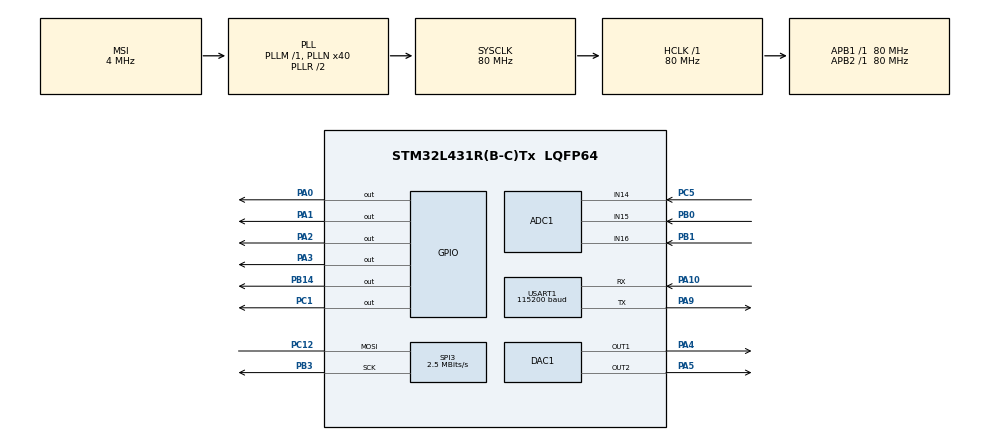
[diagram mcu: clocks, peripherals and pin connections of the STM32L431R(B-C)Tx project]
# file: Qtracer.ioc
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ADC1.Channel-0\#ChannelRegularConversion=ADC_CHANNEL_15
ADC1.Channel-1\#ChannelRegularConversion=ADC_CHANNEL_15
ADC1.ClockPrescaler=ADC_CLOCK_ASYNC_DIV12
ADC1.NbrOfConversion=2
ADC1.NbrOfConversionFlag=1
ADC1.OffsetNumber-0\#ChannelRegularConversion=ADC_OFFSET_NONE
ADC1.OffsetNumber-1\#ChannelRegularConversion=ADC_OFFSET_NONE
ADC1.Rank-0\#ChannelRegularConversion=1
ADC1.Rank-1\#ChannelRegularConversion=2
ADC1.SamplingTime-0\#ChannelRegularConversion=ADC_SAMPLETIME_47CYCLES_5
ADC1.SamplingTime-1\#ChannelRegularConversion=ADC_SAMPLETIME_47CYCLES_5
ADC1.master=1
DAC1.DAC_Channel-DAC_OUT2=DAC_CHANNEL_2
DAC1.DAC_SampleAndHold-DAC_OUT1=DAC_SAMPLEANDHOLD_DISABLE
DAC1.DAC_Trigger-DAC_OUT1=DAC_TRIGGER_NONE
DAC1.DAC_Trigger-DAC_OUT2=DAC_TRIGGER_NONE
Dma.ADC1.2.Direction=DMA_PERIPH_TO_MEMORY
Dma.ADC1.2.Instance=DMA1_Channel1
Dma.ADC1.2.MemDataAlignment=DMA_MDATAALIGN_HALFWORD
Dma.ADC1.2.MemInc=DMA_MINC_ENABLE
Dma.ADC1.2.Mode=DMA_NORMAL
Dma.ADC1.2.PeriphDataAlignment=DMA_PDATAALIGN_HALFWORD
Dma.ADC1.2.PeriphInc=DMA_PINC_DISABLE
Dma.ADC1.2.Priority=DMA_PRIORITY_LOW
Dma.Request0=USART1_RX
Dma.Request1=USART1_TX
Dma.Request2=ADC1
Dma.USART1_RX.0.Direction=DMA_PERIPH_TO_MEMORY
Dma.USART1_RX.0.Instance=DMA1_Channel5
Dma.USART1_RX.0.MemDataAlignment=DMA_MDATAALIGN_BYTE
Dma.USART1_RX.0.MemInc=DMA_MINC_ENABLE
Dma.USART1_RX.0.Mode=DMA_CIRCULAR
Dma.USART1_RX.0.PeriphDataAlignment=DMA_PDATAALIGN_BYTE
Dma.USART1_RX.0.PeriphInc=DMA_PINC_DISABLE
Dma.USART1_RX.0.Priority=DMA_PRIORITY_HIGH
Dma.USART1_TX.1.Direction=DMA_MEMORY_TO_PERIPH
Dma.USART1_TX.1.Instance=DMA1_Channel4
Dma.USART1_TX.1.MemDataAlignment=DMA_MDATAALIGN_BYTE
Dma.USART1_TX.1.MemInc=DMA_MINC_ENABLE
Dma.USART1_TX.1.Mode=DMA_NORMAL
Dma.USART1_TX.1.PeriphDataAlignment=DMA_PDATAALIGN_BYTE
Dma.USART1_TX.1.PeriphInc=DMA_PINC_DISABLE
Dma.USART1_TX.1.Priority=DMA_PRIORITY_MEDIUM
FREERTOS.Tasks01=defaultTask,0,128,StartDefaultTask,Default,NULL,Dynamic,NULL,NULL
FREERTOS.configUSE_NEWLIB_REENTRANT=1
Mcu.Family=STM32L4
Mcu.Name=STM32L431R(B-C)Tx
Mcu.Package=LQFP64
NVIC.DMA1_Channel1_IRQn=true\:5\:0\:false\:false\:true\:true\:false\:true
NVIC.DMA1_Channel4_IRQn=true\:5\:0\:false\:false\:true\:true\:false\:true
NVIC.DMA1_Channel5_IRQn=true\:5\:0\:false\:false\:true\:true\:false\:true
NVIC.PriorityGroup=NVIC_PRIORITYGROUP_4
NVIC.TIM7_IRQn=true\:5\:0\:false\:false\:true\:true\:true\:true
NVIC.USART1_IRQn=true\:5\:0\:false\:false\:true\:true\:true\:true
PA0.GPIO_Speed=GPIO_SPEED_FREQ_MEDIUM
PA0.PinState=GPIO_PIN_SET
PA0.Signal=GPIO_Output
PA1.Signal=GPIO_Output
PA10.Mode=Asynchronous
PA10.Signal=USART1_RX
PA13\ (JTMS-SWDIO).Mode=Serial_Wire
PA13\ (JTMS-SWDIO).Signal=SYS_JTMS-SWDIO
PA14\ (JTCK-SWCLK).Mode=Serial_Wire
PA14\ (JTCK-SWCLK).Signal=SYS_JTCK-SWCLK
PA2.Signal=GPIO_Output
PA3.Signal=GPIO_Output
PA4.Signal=COMP_DAC11_group
PA5.Signal=COMP_DAC12_group
PA9.Mode=Asynchronous
PA9.Signal=USART1_TX
PB0.Signal=ADCx_IN15
PB1.Signal=ADCx_IN16
PB14.Signal=GPIO_Output
PB3\ (JTDO-TRACESWO).Mode=Simplex_Bidirectional_Master
PB3\ (JTDO-TRACESWO).Signal=SPI3_SCK
PC1.Signal=GPIO_Output
PC12.Mode=Simplex_Bidirectional_Master
PC12.Signal=SPI3_MOSI
PC5.Signal=ADCx_IN14
ProjectManager.HeapSize=0x200
ProjectManager.StackSize=0x400
ProjectManager.TargetToolchain=STM32CubeIDE
RCC.ADCCLockSelection=RCC_ADCCLKSOURCE_SYSCLK
RCC.ADCFreq_Value=80000000
RCC.AHBFreq_Value=80000000
RCC.APB1Freq_Value=80000000
RCC.APB1TimFreq_Value=80000000
RCC.APB2Freq_Value=80000000
RCC.APB2TimFreq_Value=80000000
RCC.CortexFreq_Value=80000000
RCC.HCLKFreq_Value=80000000
RCC.HSE_VALUE=8000000
RCC.HSI48_VALUE=48000000
RCC.HSI_VALUE=16000000
RCC.LSE_VALUE=32768
RCC.MSI_VALUE=4000000
RCC.PLLN=40
RCC.PLLSAI1N=16
RCC.SYSCLKFreq_VALUE=80000000
RCC.SYSCLKSource=RCC_SYSCLKSOURCE_PLLCLK
RCC.VCOOutputFreq_Value=160000000
SH.ADCx_IN14.0=ADC1_IN14,IN14-Single-Ended
SH.ADCx_IN15.0=ADC1_IN15,IN15-Single-Ended
SH.ADCx_IN16.0=ADC1_IN16,IN16-Single-Ended
SH.COMP_DAC11_group.0=DAC1_OUT1,DAC_OUT1
SH.COMP_DAC12_group.0=DAC1_OUT2,DAC_OUT2
SPI3.BaudRatePrescaler=SPI_BAUDRATEPRESCALER_32
SPI3.CalculateBaudRate=2.5 MBits/s
SPI3.DataSize=SPI_DATASIZE_8BIT
SPI3.Direction=SPI_DIRECTION_1LINE
SPI3.Mode=SPI_MODE_MASTER
SPI3.VirtualType=VM_MASTER
TIM7.Period=199
TIM7.Prescaler=79
USART1.BaudRate=115200
USART1.VirtualMode-Asynchronous=VM_ASYNC
VP_FREERTOS_VS_CMSIS_V1.Mode=CMSIS_V1
VP_TIM7_VS_ClockSourceINT.Mode=Enable_Timer
board=custom

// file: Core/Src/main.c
/* USER CODE BEGIN Header */
/**
  ******************************************************************************
  * @file           : main.c
  * @brief          : Main program body
  ******************************************************************************
  * @attention
  *
  * <h2><center>&copy; Copyright (c) 2022 STMicroelectronics.
  * All rights reserved.</center></h2>
  *
  * This software component is licensed by ST under BSD 3-Clause license,
  * the "License"; You may not use this file except in compliance with the
  * License. You may obtain a copy of the License at:
  *                        opensource.org/licenses/BSD-3-Clause
  *
  ******************************************************************************
  */
/* USER CODE END Header */
#include "main.h"
#include "cmsis_os.h"

/* USER CODE BEGIN Includes */
#include "string.h"

/* USER CODE END Includes */

/* USER CODE BEGIN PD */
//VERSION DATA
#define SYS_VERSION			0

//SERIAL COMMUNICATION
#ifndef	PC_UART_COM
#define PC_UART_COM
#define PC_UART_PORT		&huart1
#define PC_UART_INSTANCE	USART1
#endif

#define MAX_PC_BUFFER_SIZE	50

#define PC_READ_CMD			0x55
#define PC_WRITE_CMD		0xAA

//SPI COMMUNICATION
#ifndef SPI_COM
#define SPI_COM
#define SPI_PORT			&hspi3
#define CS_PORT				GPIOA
#define CS_PIN				GPIO_PIN_0
#endif

//SYSTEM
/*Status*/
#define DISCONNECT		0
#define CONNECT			1
/*Mode*/
#define STOP_MODE		0
#define START_MODE		1
/*Curve type*/
#define VCE_CURVE		0
#define VBE_CURVE		1

//MEMORY ADDRESS
#define VERSION_OFF			0x00
#define STATUS_OFF			0x01
#define MODE_OFF			0x02
#define CURVE_T_OFF			0x03
#define POT_VAL_OFF			0x04
#define V_DAC_MAX_OFF		0x05

//DAC
#define DAC_TIM_PORT	&htim7
#define DAC_TIM_INS		TIM7

#define DAC_VBE_CH		DAC_CHANNEL_1
#define DAC_VCE_CH		DAC_CHANNEL_2

#define TIM_PERIOD_US	200
#define TIM_GEN_US		40000
#define DAC_SAMPLES		(TIM_GEN_US/TIM_PERIOD_US)+1

//ADC
#define ADC_SAMPLES		19000

#define ADC_VCE_CH		ADC_CHANNEL_14
#define ADC_IC_CH		ADC_CHANNEL_15
#define ADC_VBE_CH		ADC_CHANNEL_16

/* USER CODE END PD */

ADC_HandleTypeDef hadc1;
DMA_HandleTypeDef hdma_adc1;

DAC_HandleTypeDef hdac1;

SPI_HandleTypeDef hspi3;

TIM_HandleTypeDef htim7;

UART_HandleTypeDef huart1;
DMA_HandleTypeDef hdma_usart1_rx;
DMA_HandleTypeDef hdma_usart1_tx;

osThreadId defaultTaskHandle;
/* USER CODE BEGIN PV */
/*Semaphores*/
xSemaphoreHandle serial_sem;

//SYSTEM
#pragma pack(1)
struct{
	uint8_t version;
	uint8_t status;
	uint8_t mode;

	uint8_t curve_type;

	uint8_t pot_value;
	float v_dac_max;				//Range 0 to 1 for 0 to 10V

}system_data;

//PC COMMUNICATION
/*	[0]		:	PC COMMAND (Write or Read).
 * 	[1-2]	:	Size of data for read or write.
 * 	[3-4]	:	Initial address for write or read.
 * 	[5-..]	:	Data (in the case of write).
 */
uint8_t pc_buffer_rx[MAX_PC_BUFFER_SIZE];
uint8_t pc_byte_rx;

//DAC
volatile uint16_t dac_buffer[DAC_SAMPLES];
volatile uint16_t dac_i=0;

//ADC
volatile uint16_t adc_buffer[ADC_SAMPLES];

ADC_ChannelConfTypeDef adc_ch_config = {//For channel configure
		.Rank = ADC_REGULAR_RANK_2,
		.SamplingTime = ADC_SAMPLETIME_24CYCLES_5,
		.SingleDiff = ADC_SINGLE_ENDED,
		.OffsetNumber = ADC_OFFSET_NONE,
		.Offset = 0
};

/* USER CODE END PV */

void SystemClock_Config(void);
static void MX_GPIO_Init(void);
static void MX_ADC1_Init(void);
static void MX_DAC1_Init(void);
static void MX_SPI3_Init(void);
static void MX_DMA_Init(void);
static void MX_USART1_UART_Init(void);
static void MX_TIM7_Init(void);
void StartDefaultTask(void const * argument);

/* USER CODE BEGIN PFP */

//SERIAL COMMUNICATION
void uart_rx_handler(uint8_t data);

//SPI COMMUNICATION
void set_pot(uint8_t value);

//TEST TYPE
void vce_test_handler();
void vbe_test_handler();

//DAC
void dac_gen();

//TASK
void user_att_task(void *args);
void deb_att_task(void *args);

/* USER CODE END PFP */

/* USER CODE BEGIN 0 */
//SERIAL COMMUNICATION
void uart_rx_handler(uint8_t data)
{
	static uint16_t i=0;
	static uint16_t size_rx=0;

	pc_buffer_rx[i] = data;
	i++;

	if(i==1)
		if(pc_buffer_rx[0] != PC_READ_CMD || pc_buffer_rx[0] != PC_WRITE_CMD)
		{
			i=0;
			size_rx = 0;
		}
	if(i==5)
	{
		size_rx = pc_buffer_rx[1]<<8 | pc_buffer_rx[2];

		if(pc_buffer_rx[0] == PC_READ_CMD)
		{
			i=0;
			size_rx = 0;
			xSemaphoreGiveFromISR(serial_sem, NULL);
		}
	}
	if(size_rx == i+5)
	{
		i=0;
		size_rx = 0;
		xSemaphoreGiveFromISR(serial_sem, NULL);
	}
}

//SPI COMMUNICATION
void set_pot(uint8_t value)
{
	uint8_t buffer[2]={0x11, value};

	HAL_GPIO_WritePin(CS_PORT, CS_PIN, 0);
	HAL_SPI_Transmit(SPI_PORT, buffer, 2, HAL_MAX_DELAY);
	HAL_GPIO_WritePin(CS_PORT, CS_PIN, 1);
}

//TEST TYPE
void vce_test_handler()
{

	HAL_DAC_SetValue(&hdac1, DAC_VCE_CH,
			DAC_ALIGN_12B_R, dac_buffer[dac_i]);
	if(dac_i == 0)
	{
		HAL_ADC_Start_DMA(&hadc1, (uint32_t*)adc_buffer,
				ADC_SAMPLES);
		set_pot(system_data.pot_value);
	}
}

void vbe_test_handler()
{
	HAL_DAC_SetValue(&hdac1, DAC_VBE_CH, DAC_ALIGN_12B_R,
			dac_buffer[dac_i]);
	if(dac_i == 0)
	{
		HAL_ADC_Start_DMA(&hadc1, (uint32_t*)adc_buffer,
				ADC_SAMPLES);
	}
}

//DAC
void dac_gen()
{
	float t=0;

    for(uint16_t i=0; i<DAC_SAMPLES; i++)
    {
        dac_buffer[i] = (((float)system_data.v_dac_max/(float)TIM_GEN_US)*t)*4095;
        t += TIM_PERIOD_US;
    }
}

//TASK
void user_att_task(void *args)
{
	uint8_t *sys_ptr = (uint8_t *)args;
	uint16_t mem_addr;

	for(;;)
	{
		if(xSemaphoreTake(serial_sem, 1000/portTICK_PERIOD_MS)
				== pdTRUE)
		{

			mem_addr = pc_buffer_rx[3]<<8 | pc_buffer_rx[4];
			if(pc_buffer_rx[0] == PC_WRITE_CMD)
			{
				memcpy(&sys_ptr[mem_addr], &pc_buffer_rx[5],
						pc_buffer_rx[1]<<8 | pc_buffer_rx[2]);

				switch(mem_addr)
				{
				case MODE_OFF:
					HAL_GPIO_WritePin(GPIOA, GPIO_PIN_3, system_data.curve_type);//Enable (VBE) or disable(VCE) rele
					HAL_GPIO_WritePin(GPIOB, GPIO_PIN_14, system_data.curve_type);//Enalbe TSCSEL PIN for GAIN
					HAL_GPIO_WritePin(GPIOA, GPIO_PIN_1, 1);//Enable LED2 on board

					/*	Configure second channel by curve type
					 */
					if(system_data.curve_type)
					{
						adc_ch_config.Channel = ADC_VBE_CH;
						system_data.v_dac_max = 0.1;
						dac_gen();
					}
					else
					{
						adc_ch_config.Channel = ADC_VCE_CH;
					}
					if (HAL_ADC_ConfigChannel(&hadc1, &adc_ch_config) != HAL_OK)
						Error_Handler();

					HAL_TIM_Base_Start_IT(DAC_TIM_PORT);
					break;

				case V_DAC_MAX_OFF:
					dac_gen();
					break;

				default:
					break;
				}

			}
			else if(pc_buffer_rx[0] == PC_READ_CMD)
			{
				while(HAL_UART_Transmit_DMA(&huart1, &sys_ptr[mem_addr],
						pc_buffer_rx[1]<<8 | pc_buffer_rx[2]) != HAL_OK)
					vTaskDelay(10);
			}

			HAL_GPIO_WritePin(GPIOC, GPIO_PIN_1, 0);
		}
		else
		{
			HAL_GPIO_TogglePin(GPIOC, GPIO_PIN_1);
			system_data.status = DISCONNECT;
		}
	}
}

/*
void deb_att_task(void *args)
{
	for(;;)
	{
		while(!start_t)
			vTaskDelay(1000/portTICK_PERIOD_MS);
		system_data.curve_type = VCE_CURVE;
		dac_gen();
		set_pot(pot_val);
		adc_ch_config.Channel = ADC_VCE_CH;
		if (HAL_ADC_ConfigChannel(&hadc1, &adc_ch_config) != HAL_OK)
			Error_Handler();
		system_data.mode = START_MODE;
		HAL_TIM_Base_Start_IT(DAC_TIM_PORT);
		while(system_data.mode == START_MODE);
		start_t = 0;

	}
}
*/

/* USER CODE END 0 */

int main(void)
{

  /* MCU Configuration--------------------------------------------------------*/

  /* Reset of all peripherals, Initializes the Flash interface and the Systick. */
  HAL_Init();

  /* Configure the system clock */
  SystemClock_Config();

  /* Initialize all configured peripherals */
  MX_GPIO_Init();
  MX_ADC1_Init();
  MX_DAC1_Init();
  MX_SPI3_Init();
  MX_DMA_Init();
  MX_USART1_UART_Init();
  MX_TIM7_Init();
  /* USER CODE BEGIN 2 */
  system_data.version = SYS_VERSION;
  for(uint8_t i=0; i<10; i++)
  {
	  HAL_GPIO_TogglePin(GPIOC, GPIO_PIN_1); //Toggle LED1 on board
	  HAL_Delay(100);
  }

  //INIT PPERIPHERALS
  HAL_UART_Receive_DMA(&huart1, &pc_byte_rx, 1);
  HAL_DAC_Start(&hdac1, DAC_VCE_CH);
  HAL_DAC_Start(&hdac1, DAC_VBE_CH);
  HAL_DAC_SetValue(&hdac1, DAC_VCE_CH, DAC_ALIGN_12B_R, 0);
  HAL_DAC_SetValue(&hdac1, DAC_VBE_CH, DAC_ALIGN_12B_R, 0);
  set_pot(255);

  //FREERTOS
  /*Semaphores*/
  serial_sem = xSemaphoreCreateBinary();

  /*Task*/
  xTaskCreate(user_att_task, "USER", 128, (void*)&system_data, 5, NULL);

  /*Init FreeRTOS*/
  vTaskStartScheduler();
  while(1);

  /* USER CODE END 2 */

  /* Create the thread(s) */
  /* definition and creation of defaultTask */
  osThreadDef(defaultTask, StartDefaultTask, osPriorityNormal, 0, 128);
  defaultTaskHandle = osThreadCreate(osThread(defaultTask), NULL);

  /* Start scheduler */
  osKernelStart();

  /* We should never get here as control is now taken by the scheduler */
  /* Infinite loop */
  while (1)
  {

  }
}

void SystemClock_Config(void)
{
  RCC_OscInitTypeDef RCC_OscInitStruct = {0};
  RCC_ClkInitTypeDef RCC_ClkInitStruct = {0};

  /** Configure the main internal regulator output voltage
  */
  if (HAL_PWREx_ControlVoltageScaling(PWR_REGULATOR_VOLTAGE_SCALE1) != HAL_OK)
  {
    Error_Handler();
  }
  /** Initializes the RCC Oscillators according to the specified parameters
  * in the RCC_OscInitTypeDef structure.
  */
  RCC_OscInitStruct.OscillatorType = RCC_OSCILLATORTYPE_MSI;
  RCC_OscInitStruct.MSIState = RCC_MSI_ON;
  RCC_OscInitStruct.MSICalibrationValue = 0;
  RCC_OscInitStruct.MSIClockRange = RCC_MSIRANGE_6;
  RCC_OscInitStruct.PLL.PLLState = RCC_PLL_ON;
  RCC_OscInitStruct.PLL.PLLSource = RCC_PLLSOURCE_MSI;
  RCC_OscInitStruct.PLL.PLLM = 1;
  RCC_OscInitStruct.PLL.PLLN = 40;
  RCC_OscInitStruct.PLL.PLLP = RCC_PLLP_DIV7;
  RCC_OscInitStruct.PLL.PLLQ = RCC_PLLQ_DIV2;
  RCC_OscInitStruct.PLL.PLLR = RCC_PLLR_DIV2;
  if (HAL_RCC_OscConfig(&RCC_OscInitStruct) != HAL_OK)
  {
    Error_Handler();
  }
  /** Initializes the CPU, AHB and APB buses clocks
  */
  RCC_ClkInitStruct.ClockType = RCC_CLOCKTYPE_HCLK|RCC_CLOCKTYPE_SYSCLK
                              |RCC_CLOCKTYPE_PCLK1|RCC_CLOCKTYPE_PCLK2;
  RCC_ClkInitStruct.SYSCLKSource = RCC_SYSCLKSOURCE_PLLCLK;
  RCC_ClkInitStruct.AHBCLKDivider = RCC_SYSCLK_DIV1;
  RCC_ClkInitStruct.APB1CLKDivider = RCC_HCLK_DIV1;
  RCC_ClkInitStruct.APB2CLKDivider = RCC_HCLK_DIV1;

  if (HAL_RCC_ClockConfig(&RCC_ClkInitStruct, FLASH_LATENCY_4) != HAL_OK)
  {
    Error_Handler();
  }
}

static void MX_ADC1_Init(void)
{

  ADC_ChannelConfTypeDef sConfig = {0};

  /** Common config
  */
  hadc1.Instance = ADC1;
  hadc1.Init.ClockPrescaler = ADC_CLOCK_ASYNC_DIV12;
  hadc1.Init.Resolution = ADC_RESOLUTION_12B;
  hadc1.Init.DataAlign = ADC_DATAALIGN_RIGHT;
  hadc1.Init.ScanConvMode = ADC_SCAN_ENABLE;
  hadc1.Init.EOCSelection = ADC_EOC_SINGLE_CONV;
  hadc1.Init.LowPowerAutoWait = DISABLE;
  hadc1.Init.ContinuousConvMode = DISABLE;
  hadc1.Init.NbrOfConversion = 2;
  hadc1.Init.DiscontinuousConvMode = DISABLE;
  hadc1.Init.ExternalTrigConv = ADC_SOFTWARE_START;
  hadc1.Init.ExternalTrigConvEdge = ADC_EXTERNALTRIGCONVEDGE_NONE;
  hadc1.Init.DMAContinuousRequests = DISABLE;
  hadc1.Init.Overrun = ADC_OVR_DATA_PRESERVED;
  hadc1.Init.OversamplingMode = DISABLE;
  if (HAL_ADC_Init(&hadc1) != HAL_OK)
  {
    Error_Handler();
  }
  /** Configure Regular Channel
  */
  sConfig.Channel = ADC_CHANNEL_15;
  sConfig.Rank = ADC_REGULAR_RANK_1;
  sConfig.SamplingTime = ADC_SAMPLETIME_47CYCLES_5;
  sConfig.SingleDiff = ADC_SINGLE_ENDED;
  sConfig.OffsetNumber = ADC_OFFSET_NONE;
  sConfig.Offset = 0;
  if (HAL_ADC_ConfigChannel(&hadc1, &sConfig) != HAL_OK)
  {
    Error_Handler();
  }
  /** Configure Regular Channel
  */
  sConfig.Rank = ADC_REGULAR_RANK_2;
  if (HAL_ADC_ConfigChannel(&hadc1, &sConfig) != HAL_OK)
  {
    Error_Handler();
  }

}

static void MX_DAC1_Init(void)
{

  DAC_ChannelConfTypeDef sConfig = {0};

  /** DAC Initialization
  */
  hdac1.Instance = DAC1;
  if (HAL_DAC_Init(&hdac1) != HAL_OK)
  {
    Error_Handler();
  }
  /** DAC channel OUT1 config
  */
  sConfig.DAC_SampleAndHold = DAC_SAMPLEANDHOLD_DISABLE;
  sConfig.DAC_Trigger = DAC_TRIGGER_NONE;
  sConfig.DAC_OutputBuffer = DAC_OUTPUTBUFFER_ENABLE;
  sConfig.DAC_ConnectOnChipPeripheral = DAC_CHIPCONNECT_DISABLE;
  sConfig.DAC_UserTrimming = DAC_TRIMMING_FACTORY;
  if (HAL_DAC_ConfigChannel(&hdac1, &sConfig, DAC_CHANNEL_1) != HAL_OK)
  {
    Error_Handler();
  }
  /** DAC channel OUT2 config
  */
  if (HAL_DAC_ConfigChannel(&hdac1, &sConfig, DAC_CHANNEL_2) != HAL_OK)
  {
    Error_Handler();
  }

}

static void MX_SPI3_Init(void)
{

  /* SPI3 parameter configuration*/
  hspi3.Instance = SPI3;
  hspi3.Init.Mode = SPI_MODE_MASTER;
  hspi3.Init.Direction = SPI_DIRECTION_1LINE;
  hspi3.Init.DataSize = SPI_DATASIZE_8BIT;
  hspi3.Init.CLKPolarity = SPI_POLARITY_LOW;
  hspi3.Init.CLKPhase = SPI_PHASE_1EDGE;
  hspi3.Init.NSS = SPI_NSS_SOFT;
  hspi3.Init.BaudRatePrescaler = SPI_BAUDRATEPRESCALER_32;
  hspi3.Init.FirstBit = SPI_FIRSTBIT_MSB;
  hspi3.Init.TIMode = SPI_TIMODE_DISABLE;
  hspi3.Init.CRCCalculation = SPI_CRCCALCULATION_DISABLE;
  hspi3.Init.CRCPolynomial = 7;
  hspi3.Init.CRCLength = SPI_CRC_LENGTH_DATASIZE;
  hspi3.Init.NSSPMode = SPI_NSS_PULSE_ENABLE;
  if (HAL_SPI_Init(&hspi3) != HAL_OK)
  {
    Error_Handler();
  }

}

static void MX_TIM7_Init(void)
{

  TIM_MasterConfigTypeDef sMasterConfig = {0};

  htim7.Instance = TIM7;
  htim7.Init.Prescaler = 79;
  htim7.Init.CounterMode = TIM_COUNTERMODE_UP;
  htim7.Init.Period = 199;
  htim7.Init.AutoReloadPreload = TIM_AUTORELOAD_PRELOAD_DISABLE;
  if (HAL_TIM_Base_Init(&htim7) != HAL_OK)
  {
    Error_Handler();
  }
  sMasterConfig.MasterOutputTrigger = TIM_TRGO_RESET;
  sMasterConfig.MasterSlaveMode = TIM_MASTERSLAVEMODE_DISABLE;
  if (HAL_TIMEx_MasterConfigSynchronization(&htim7, &sMasterConfig) != HAL_OK)
  {
    Error_Handler();
  }

}

static void MX_USART1_UART_Init(void)
{

  huart1.Instance = USART1;
  huart1.Init.BaudRate = 115200;
  huart1.Init.WordLength = UART_WORDLENGTH_8B;
  huart1.Init.StopBits = UART_STOPBITS_1;
  huart1.Init.Parity = UART_PARITY_NONE;
  huart1.Init.Mode = UART_MODE_TX_RX;
  huart1.Init.HwFlowCtl = UART_HWCONTROL_NONE;
  huart1.Init.OverSampling = UART_OVERSAMPLING_16;
  huart1.Init.OneBitSampling = UART_ONE_BIT_SAMPLE_DISABLE;
  huart1.AdvancedInit.AdvFeatureInit = UART_ADVFEATURE_NO_INIT;
  if (HAL_UART_Init(&huart1) != HAL_OK)
  {
    Error_Handler();
  }

}

static void MX_DMA_Init(void)
{

  /* DMA controller clock enable */
  __HAL_RCC_DMA1_CLK_ENABLE();

  /* DMA interrupt init */
  /* DMA1_Channel1_IRQn interrupt configuration */
  HAL_NVIC_SetPriority(DMA1_Channel1_IRQn, 5, 0);
  HAL_NVIC_EnableIRQ(DMA1_Channel1_IRQn);
  /* DMA1_Channel4_IRQn interrupt configuration */
  HAL_NVIC_SetPriority(DMA1_Channel4_IRQn, 5, 0);
  HAL_NVIC_EnableIRQ(DMA1_Channel4_IRQn);
  /* DMA1_Channel5_IRQn interrupt configuration */
  HAL_NVIC_SetPriority(DMA1_Channel5_IRQn, 5, 0);
  HAL_NVIC_EnableIRQ(DMA1_Channel5_IRQn);

}

static void MX_GPIO_Init(void)
{
  GPIO_InitTypeDef GPIO_InitStruct = {0};

  /* GPIO Ports Clock Enable */
  __HAL_RCC_GPIOC_CLK_ENABLE();
  __HAL_RCC_GPIOA_CLK_ENABLE();
  __HAL_RCC_GPIOB_CLK_ENABLE();

  /*Configure GPIO pin Output Level */
  HAL_GPIO_WritePin(GPIOC, GPIO_PIN_1, GPIO_PIN_RESET);

  /*Configure GPIO pin Output Level */
  HAL_GPIO_WritePin(GPIOA, GPIO_PIN_0, GPIO_PIN_SET);

  /*Configure GPIO pin Output Level */
  HAL_GPIO_WritePin(GPIOA, GPIO_PIN_1|GPIO_PIN_2|GPIO_PIN_3, GPIO_PIN_RESET);

  /*Configure GPIO pin Output Level */
  HAL_GPIO_WritePin(GPIOB, GPIO_PIN_14, GPIO_PIN_RESET);

  /*Configure GPIO pin : PC1 */
  GPIO_InitStruct.Pin = GPIO_PIN_1;
  GPIO_InitStruct.Mode = GPIO_MODE_OUTPUT_PP;
  GPIO_InitStruct.Pull = GPIO_NOPULL;
  GPIO_InitStruct.Speed = GPIO_SPEED_FREQ_LOW;
  HAL_GPIO_Init(GPIOC, &GPIO_InitStruct);

  /*Configure GPIO pin : PA0 */
  GPIO_InitStruct.Pin = GPIO_PIN_0;
  GPIO_InitStruct.Mode = GPIO_MODE_OUTPUT_PP;
  GPIO_InitStruct.Pull = GPIO_NOPULL;
  GPIO_InitStruct.Speed = GPIO_SPEED_FREQ_MEDIUM;
  HAL_GPIO_Init(GPIOA, &GPIO_InitStruct);

  /*Configure GPIO pins : PA1 PA2 PA3 */
  GPIO_InitStruct.Pin = GPIO_PIN_1|GPIO_PIN_2|GPIO_PIN_3;
  GPIO_InitStruct.Mode = GPIO_MODE_OUTPUT_PP;
  GPIO_InitStruct.Pull = GPIO_NOPULL;
  GPIO_InitStruct.Speed = GPIO_SPEED_FREQ_LOW;
  HAL_GPIO_Init(GPIOA, &GPIO_InitStruct);

  /*Configure GPIO pin : PB14 */
  GPIO_InitStruct.Pin = GPIO_PIN_14;
  GPIO_InitStruct.Mode = GPIO_MODE_OUTPUT_PP;
  GPIO_InitStruct.Pull = GPIO_NOPULL;
  GPIO_InitStruct.Speed = GPIO_SPEED_FREQ_LOW;
  HAL_GPIO_Init(GPIOB, &GPIO_InitStruct);

}

/* USER CODE BEGIN 4 */
void HAL_UART_RxCpltCallback(UART_HandleTypeDef *huart)
{
	if(huart->Instance == PC_UART_INSTANCE)
		uart_rx_handler(pc_byte_rx);
}

void HAL_TIM_PeriodElapsedCallback(TIM_HandleTypeDef *htim)
{
	if(htim->Instance == DAC_TIM_INS)
	{
		if(system_data.curve_type)
			vbe_test_handler();
		else
			vce_test_handler();

		dac_i++;

		if(dac_i==DAC_SAMPLES)
		{
			dac_i=0;
			system_data.mode = STOP_MODE;
			HAL_TIM_Base_Stop_IT(DAC_TIM_PORT);
			HAL_DAC_SetValue(&hdac1, DAC_VCE_CH, DAC_ALIGN_12B_R, 0);
			HAL_DAC_SetValue(&hdac1, DAC_VBE_CH, DAC_ALIGN_12B_R, 0);
			set_pot(255);
			HAL_GPIO_WritePin(GPIOA, GPIO_PIN_1, 1);//Disable LED2 on board
		}
	}
}

/* USER CODE END 4 */

void StartDefaultTask(void const * argument)
{
  for(;;)
  {
    osDelay(1);
  }
}

void Error_Handler(void)
{
  /* USER CODE BEGIN Error_Handler_Debug */
  /* User can add his own implementation to report the HAL error return state */
  __disable_irq();
  while (1)
  {
	  HAL_GPIO_TogglePin(GPIOC, GPIO_PIN_1);
	  HAL_GPIO_TogglePin(GPIOA, GPIO_PIN_1);
	  HAL_GPIO_TogglePin(GPIOA, GPIO_PIN_2);
	  HAL_Delay(500);

  }
  /* USER CODE END Error_Handler_Debug */
}

/************************ (C) COPYRIGHT STMicroelectronics *****END OF FILE****/
